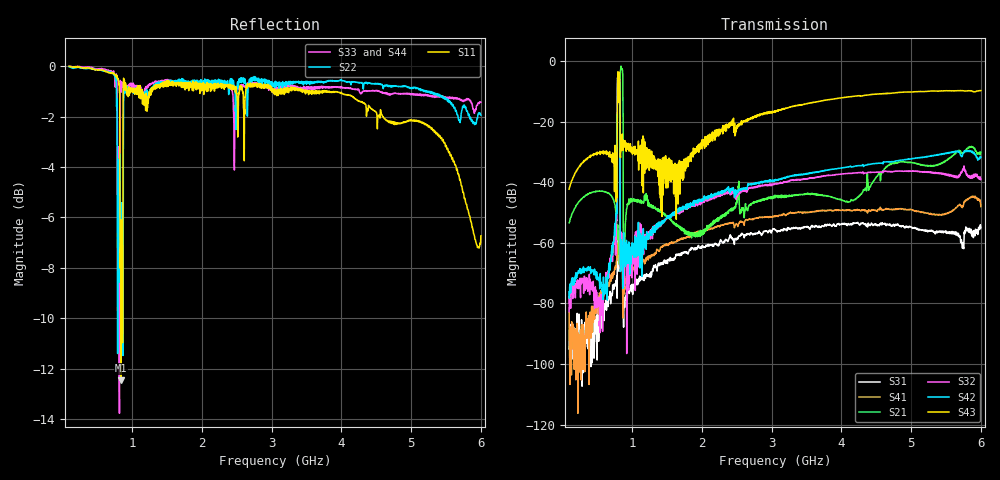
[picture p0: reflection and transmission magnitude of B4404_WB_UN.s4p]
! Matrix data file written by TouchstoneData, EPCOS AG
! FILENAME: "ansys_B4404_02_WB_DOWN25.s4p"
! COMMENT: "(B4404_02_WB_DOWN25.s4p) EPCOS AG 4/20/2013"
! INFO: nport=4, nfreq=1601
! DATE: "Fri Jun 21 16:19:05 2013"
! USER: "Sergey Rostovtsev"
! port | pin | signal
!  1  |  3  |  TX in
!  2  |  6  |  Ant in/out
!  3  |  8  |  RX out1
!  4  |  1  |  RX out2
# MHZ S MA R 50
! freq  magS11 angS11  magS12 angS12  magS13 angS13  magS14 angS14  ...
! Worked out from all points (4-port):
!   1588 points, 98.34 MHz to 6 GHz, reference 50 ohm
!   strongest paths, dB at 98.34 MHz, 1.575 GHz, 3.051 GHz, 4.527 GHz, 6 GHz:
!     S43: -42.3, -37.5, -16.5, -10.8, -9.7
!     S42: -76.1, -50.2, -39.2, -33.7, -31.8
!     S32: -82.7, -51.0, -40.6, -36.6, -38.9
!     S21: -53.4, -53.1, -45.2, -37.4, -30.0
!     S41: -83.0, -59.7, -51.2, -49.0, -48.0
!     S31: -95.0, -65.3, -55.7, -54.0, -55.0
!   lowest |S11| = -12.5 dB at 842.1 MHz (marker M1), VSWR 1.62, Z = 57.5 + j25.2 ohm
!   |S11| at or under -10 dB: 840.406 MHz to 844.0022 MHz (3.596 MHz wide, 0.427 % of centre); 863.4749 MHz to 865.5965 MHz (2.122 MHz wide, 0.245 % of centre)
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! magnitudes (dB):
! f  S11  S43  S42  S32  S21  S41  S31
! 98.34 MHz  0.0  -42.3  -76.1  -82.7  -53.4  -83.0  -95.0
! 622.7 MHz  -0.2  -30.6  -76.1  -76.6  -43.2  -75.1  -82.0
! 756.6 MHz  -0.3  -27.8  -57.7  -58.9  -47.5  -68.7  -74.3
! 797.5 MHz  -0.5  -3.5  -6.8  -6.8  -57.1  -62.1  -60.5
! 842.1 MHz  -12.5  -24.8  -62.0  -60.0  -1.6  -65.1  -60.6
! 901.6 MHz  -1.0  -27.2  -61.5  -63.2  -56.4  -71.8  -78.0
! 6 GHz  -6.7  -9.7  -31.8  -38.9  -30.0  -48.0  -55.0
